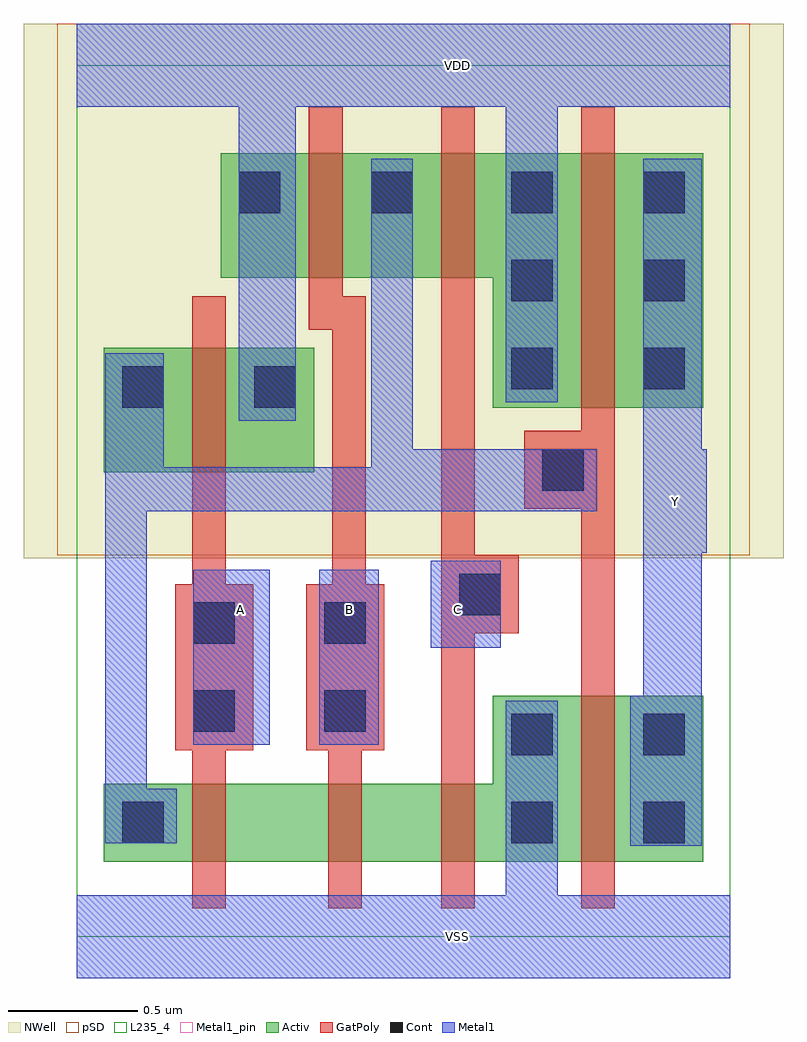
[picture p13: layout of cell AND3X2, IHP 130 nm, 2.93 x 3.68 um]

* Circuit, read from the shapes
.subckt AND3X2 A B C VDD VSS Y
XM1 n1 A n2 VSUBS sg13_lv_nmos w=0.3u l=0.13u
XM2 n3 B n1 VSUBS sg13_lv_nmos w=0.3u l=0.13u
XM3 VSS C n3 VSUBS sg13_lv_nmos w=0.3u l=0.13u
XM4 Y n2 VSS VSUBS sg13_lv_nmos w=0.64u l=0.13u
XM5 VDD A n2 n4 sg13_lv_pmos w=0.48u l=0.13u
XM6 n2 B VDD n4 sg13_lv_pmos w=0.48u l=0.13u
XM7 VDD C n2 n4 sg13_lv_pmos w=0.48u l=0.13u
XM8 Y n2 VDD n4 sg13_lv_pmos w=0.98u l=0.13u
.ends

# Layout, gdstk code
import gdstk
lib = gdstk.Library(unit=1e-6, precision=1e-09)
def R(c, l, rs):  # rectangles x0, y0, x1, y1
    for r in rs: c.add(gdstk.rectangle(r[:2], r[2:], *l))
def A(c, l, x, y, w, h, nx, ny, dx, dy):  # array of equal rectangles
    R(c, l, [(x+i*dx, y+j*dy, x+i*dx+w, y+j*dy+h) for i in range(nx) for j in range(ny)])
def P(c, l, *ps):  # polygons
    for p in ps: c.add(gdstk.Polygon(p, *l))
Activ = (1, 0)
GatPoly = (5, 0)
Cont = (6, 0)
Metal1 = (8, 0)
Metal1_pin = (8, 2)
pSD = (14, 0)
NWell = (31, 0)
L235_4 = (235, 4)

and3x2 = lib.new_cell('AND3X2')
R(and3x2, Activ, [(0.105,1.79,0.915,2.27)])
P(and3x2, Activ, [(2.415,3.02),(0.555,3.02),(0.555,2.54),(1.605,2.54),(1.605,2.04),(2.415,2.04)],
  [(2.415,0.93),(1.605,0.93),(1.605,0.59),(0.105,0.59),(0.105,0.29),(2.415,0.29)])
P(and3x2, GatPoly, [(1.705,1.47),(1.535,1.47),(1.535,3.2),(1.405,3.2),(1.405,0.11),(1.535,0.11),(1.535,1.17),(1.705,1.17)],
  [(1.185,1.36),(1.115,1.36),(1.115,2.47),(1.025,2.47),(1.025,3.2),(0.895,3.2),(0.895,2.34),(0.985,2.34),(0.985,1.36),(0.885,1.36),(0.885,0.72),(0.97,0.72),(0.97,0.11),(1.1,0.11),(1.1,0.72),(1.185,0.72)],
  [(0.68,1.36),(0.575,1.36),(0.575,2.47),(0.445,2.47),(0.445,1.36),(0.38,1.36),(0.38,0.72),(0.445,0.72),(0.445,0.11),(0.575,0.11),(0.575,0.72),(0.68,0.72)],
  [(2.075,3.2),(1.945,3.2),(1.945,1.95),(1.725,1.95),(1.725,1.65),(1.945,1.65),(1.945,0.11),(2.075,0.11)])
A(and3x2, Cont, 1.675, 2.11, 0.16, 0.16, 1, 3, 0, 0.34)
A(and3x2, Cont, 2.185, 2.11, 0.16, 0.16, 1, 3, 0, 0.34)
R(and3x2, Cont, [(0.175,0.36,0.335,0.52), (1.675,0.36,1.835,0.52), (2.185,0.36,2.345,0.52), (1.675,0.7,1.835,0.86), (2.185,0.7,2.345,0.86), (0.45,0.79,0.61,0.95), (0.955,0.79,1.115,0.95), (0.45,1.13,0.61,1.29), (0.955,1.13,1.115,1.29), (1.475,1.24,1.635,1.4), (1.795,1.72,1.955,1.88), (0.175,2.04,0.335,2.2), (0.685,2.04,0.845,2.2), (0.625,2.79,0.785,2.95), (1.135,2.79,1.295,2.95)])
R(and3x2, Metal1, [(0.45,0.74,0.745,1.415), (0.935,0.74,1.165,1.415), (1.365,1.115,1.635,1.45)])
P(and3x2, Metal1, [(2.52,0.16),(1.855,0.16),(1.855,0.91),(1.655,0.91),(1.655,0.16),(0,0.16),(0,-0.16),(2.52,-0.16)],
  [(2.43,1.88),(2.41,1.88),(2.41,3),(2.185,3),(2.185,0.93),(2.135,0.93),(2.135,0.35),(2.41,0.35),(2.41,1.48),(2.43,1.48)],
  [(2.52,3.52),(0,3.52),(0,3.2),(0.625,3.2),(0.625,1.99),(0.845,1.99),(0.845,3.2),(1.655,3.2),(1.655,2.06),(1.855,2.06),(1.855,3.2),(2.52,3.2)],
  [(2.005,1.88),(1.295,1.88),(1.295,3),(1.135,3),(1.135,1.81),(0.335,1.81),(0.335,2.25),(0.11,2.25),(0.11,0.36),(0.385,0.36),(0.385,0.57),(0.27,0.57),(0.27,1.64),(2.005,1.64)])
R(and3x2, Metal1_pin, [(0,-0.16,2.52,0.16), (2.185,0.35,2.41,3), (0.45,0.74,0.745,1.415), (0.935,0.74,1.165,1.415), (1.365,1.115,1.635,1.45), (0,3.2,2.52,3.52)])
P(and3x2, Metal1_pin, [(2.43,1.88),(2.41,1.88),(2.41,3),(2.185,3),(2.185,0.93),(2.135,0.93),(2.135,0.35),(2.41,0.35),(2.41,1.48),(2.43,1.48)],
  [(2.52,0.16),(1.855,0.16),(1.855,0.91),(1.655,0.91),(1.655,0.16),(0,0.16),(0,-0.16),(2.52,-0.16)],
  [(2.52,3.52),(0,3.52),(0,3.2),(0.625,3.2),(0.625,1.99),(0.845,1.99),(0.845,3.2),(1.655,3.2),(1.655,2.06),(1.855,2.06),(1.855,3.2),(2.52,3.2)])
R(and3x2, pSD, [(-0.075,1.47,2.595,3.52)])
R(and3x2, NWell, [(-0.205,1.46,2.725,3.52)])
R(and3x2, L235_4, [(0,0,2.52,3.36)])
and3x2.add(gdstk.Label('VSS', (1.47,0), layer=8, texttype=25))
and3x2.add(gdstk.Label('VDD', (1.47,3.36), layer=8, texttype=25))
and3x2.add(gdstk.Label('Y', (2.31,1.68), layer=8, texttype=25))
and3x2.add(gdstk.Label('B', (1.05,1.26), layer=8, texttype=25))
and3x2.add(gdstk.Label('A', (0.63,1.26), layer=8, texttype=25))
and3x2.add(gdstk.Label('C', (1.47,1.26), layer=8, texttype=25))

lib.write_gds('AND3X2.gds')
